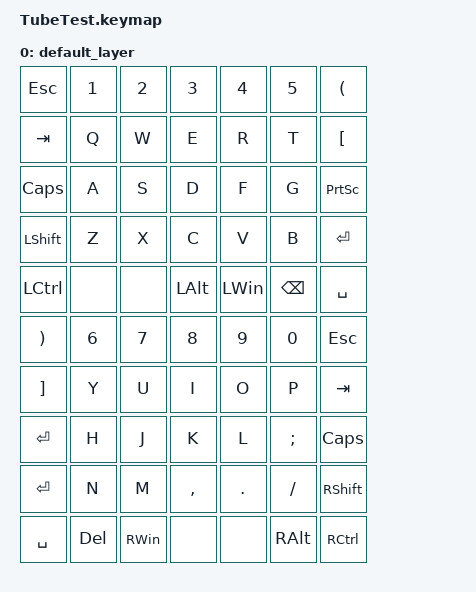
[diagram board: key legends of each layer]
#include <behaviors.dtsi>
#include <dt-bindings/zmk/keys.h>
#include <dt-bindings/zmk/bt.h>
/ {  
    keymap {
        compatible = "zmk,keymap";

        default_layer {
            bindings = <
        &kp ESCAPE        &kp N1     &kp N2 &kp N3        &kp N4     &kp N5          &kp LEFT_PARENTHESIS                    
        &kp TAB           &kp Q      &kp W  &kp E         &kp R      &kp T           &kp LEFT_BRACKET                        
        &kp CAPSLOCK      &kp A      &kp S  &kp D         &kp F      &kp G           &kp PRINTSCREEN                         
        &kp LSHIFT        &kp Z      &kp X  &kp C         &kp V      &kp B           &kp ENTER                               
        &kp LEFT_CONTROL  &none      &none  &kp LEFT_ALT  &kp LWIN   &kp BACKSPACE   &kp SPACE                               


        &kp RIGHT_PARENTHESIS &kp N6     &kp N7         &kp N8        &kp N9     &kp N0          &kp ESCAPE
        &kp RIGHT_BRACKET     &kp Y      &kp U          &kp I         &kp O      &kp P           &kp TAB
        &kp ENTER             &kp H      &kp J          &kp K         &kp L      &kp SEMI        &kp CAPSLOCK
        &kp ENTER             &kp N      &kp M          &kp COMMA     &kp DOT    &kp FSLH        &kp RIGHT_SHIFT 
        &kp SPACE             &kp DELETE &kp RIGHT_WIN  &none         &none      &kp RIGHT_ALT   &kp RIGHT_CONTROL
            >;
        };
    };
};
